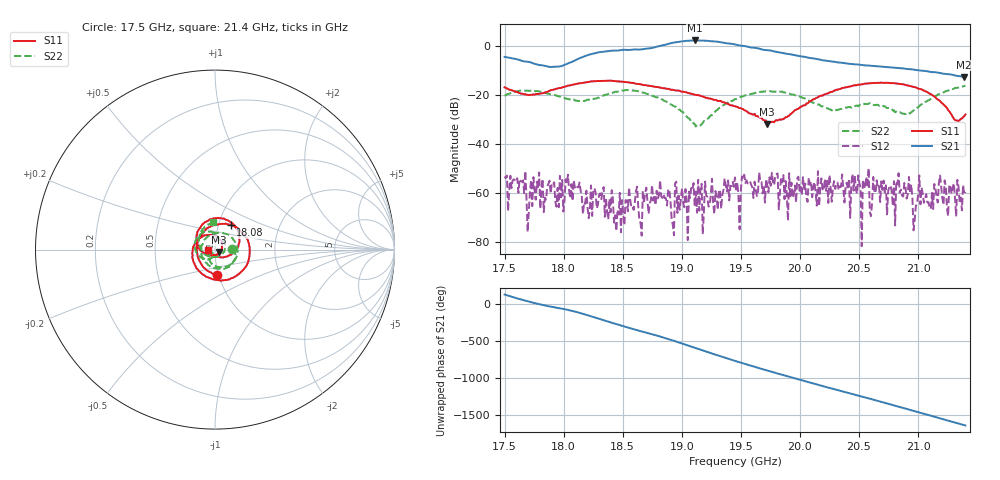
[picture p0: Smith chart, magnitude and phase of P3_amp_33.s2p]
!Created with skrf (http://scikit-rf.org).
# GHz S RI R 50.0
!freq ReS11 ImS11 ReS21 ImS21 ReS12 ImS12 ReS22 ImS22
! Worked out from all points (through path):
!   401 points, 17.5 GHz to 21.4 GHz, reference 50 ohm
!   highest |S21| = 2.27 dB at 19.11 GHz (marker M1); lowest = -12.6 dB at 21.39 GHz (marker M2)
!   group delay of S21, straight-line fit = 1.29 ns
!   lowest |S11| = -31.7 dB at 19.72 GHz (marker M3), VSWR 1.05, Z = 52.3 - j1.35 ohm
!   |S11| at or under -10 dB: start of sweep to end of sweep
!   |S22| runs from -32.8 to -16.1 dB; largest |S21 - S12| = 1.3
!   S11 on the Smith chart (normalised r, x): 17.5 GHz: 0.98, -0.29; 18.08 GHz: 1.15, +0.32; 21.4 GHz: 0.92, -0.00
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17.5  0.00933 -0.1436  -0.3769 0.4683  -0.00211 0.000621  0.0973 0.00227
17.734  -0.101 0.00878  0.4243 0.1599  0.000242 0.000488  0.0829 -0.0904
18.07525  0.0886 0.1363  -0.0352 -0.4803  0.000558 -0.000418  -0.0742 -0.0308
18.15325  0.1409 0.1051  -0.364 -0.4609  0.000391 0.000786  -0.0757 0.019
18.2995  0.194 -0.004  -0.7031 0.2552  0.000553 -0.000744  -0.00443 0.0883
18.46525  0.1348 -0.136  0.1563 0.799  -0.000243 -0.000277  0.1115 0.0428
18.631  0.00222 -0.1688  0.8483 0.0149  0.000537 6.39e-05  0.0857 -0.0831
18.8065  -0.1064 -0.0977  0.2397 -0.9661  0.000373 -0.000826  -0.00835 -0.0852
18.99175  -0.1167 0.0223  -1.219 -0.2181  -0.000338 0.00069  -0.0346 -0.0324
19.10875  -0.0751 0.0691  -0.7829 1.036  -0.000524 -0.000123  -0.019 -0.017
19.1965  -0.0383 0.0816  0.2221 1.265  0.000252 0.00172  -0.00934 -0.0284
19.30375  0.00219 0.0757  1.123 0.488  7.27e-05 0.000455  -0.0195 -0.0467
19.45  0.0344 0.0482  0.6758 -0.8407  0.0021 -0.000101  -0.0654 -0.0509
19.55725  0.0397 0.0216  -0.2262 -0.9393  0.00158 0.00015  -0.0989 -0.0265
19.723  0.0225 -0.0129  -0.824 0.0116  0.0014 -0.000455  -0.1073 0.0525
19.8985  -0.0187 -0.0321  -0.0932 0.6832  -0.000259 9.57e-05  -0.0405 0.1003
20.10325  -0.0793 -0.00494  0.5576 0.0591  -0.000426 -0.000713  0.0148 0.0697
20.49325  -0.0539 0.1541  -0.3993 -0.1294  -0.00171 0.00156  0.0247 0.0538
20.7565  0.085 0.1547  0.044 0.368  0.000748 0.00117  0.0541 -0.00359
21.09775  0.1061 -0.0134  0.0973 -0.282  -0.000468 -0.000189  -0.0802 0.00913
21.39025  -0.0366 -0.00614  -0.2156 0.0899  -0.000932 -0.000167  -0.0151 0.1518
21.4  -0.0403 -0.00132  -0.2086 0.1065  -0.00101 -0.000343  -0.00894 0.1555
